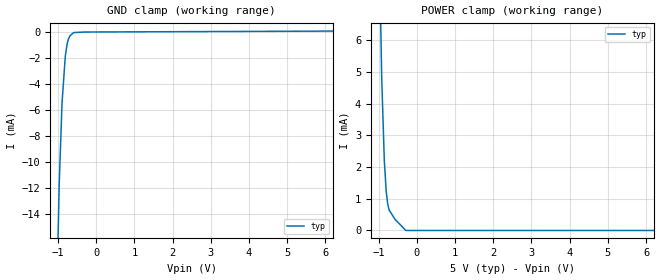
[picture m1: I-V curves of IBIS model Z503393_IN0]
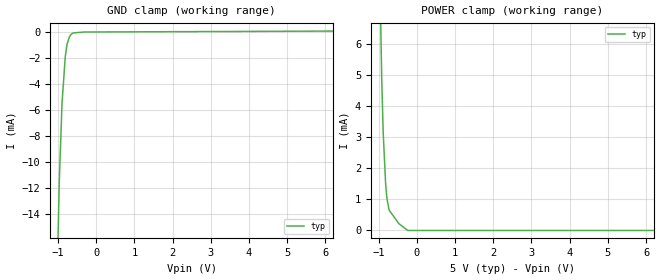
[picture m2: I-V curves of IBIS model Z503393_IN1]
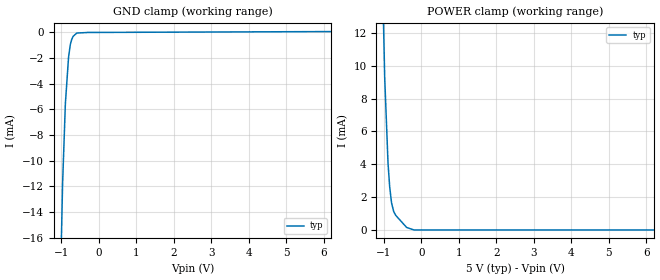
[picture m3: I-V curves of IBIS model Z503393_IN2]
| YOU ARE ONLY AUTHORIZED TO USE THIS SOFTWARE
| ACCORDING TO LICENSOR'S LICENSE RESTRICTIONS.
[IBIS Ver] 3.1
[File Name] mc100h641fn_50.ibs
[File Rev] 3.0
[Source] Measured and created by ICX Technology
[Date] 11/13/2003
[Copyright]
| (C) COPYRIGHT 1993-2000
| MENTOR GRAPHICS CORPORATION
| ICX STANDARD LIBRARY, ICX PROJECT MODELING,
| ICX CUSTOM MODELING, ICX VENDOR MODEL
| ALL RIGHTS RESERVED.
| THE FOLLOWING ARE TRADEMARKS OR SERVICE MARKS OF
| MENTOR GRAPHICS CORPORATION:ICX (R), ICX STANDARD
| LIBRARY(R), ICX PROJECT MODELING(R), ICX CUSTOM
| MODELING(R), qualityIBIS(TM), MODELVIEWER(TM),
| AND MODELEDITOR(TM)
| ALL COPIES OF SOFTWARE, INCLUDING BUT NOT LIMITED TO
| ANY MODIFICATIONS, ENHANCEMENTS OR DERIVATIVE WORKS,
| MUST CONTAIN ALL MENTOR GRAPHICS CORPORATION'S
| NOTICES AND LEGENDS, INCLUDING THOSE EMBEDDED IN
| SOFTWARE AND THOSE AFFIXED TO SOFTWARE MEDIUM
| AND CONTAINER, AS RECEIVED FROM MENTOR GRAPHICS
| CORPORATION.
|  ZAP Model Builder 2.7
[Component] MC100H641FN_50
[Manufacturer] OnSemiconductor
[Package]
| variable   typ   min   max
R_pkg  .083ohms NA NA
L_pkg  4.299nH NA NA
C_pkg  1.045pF NA NA
[Pin] signal_name  model_name  R_pin  L_pin C_pin
1 Q4 Z503393_OUT0 .08 3.94n .925p
2 VCC POWER .082 4.14n .995p
3 Q3 Z503393_OUT0 .084 4.354n 1.065p
4 GROUND GND .086 4.583n 1.135p
5 GROUND GND .086 4.583n 1.135p
6 Q2 Z503393_OUT0 .084 4.354n 1.065p
7 VCC POWER .082 4.14n .995p
8 Q1 Z503393_OUT0 .08 3.94n .925p
9 VCC POWER .082 4.14n .995p
10 Q0 Z503393_OUT0 .084 4.354n 1.065p
11 GROUND GND .086 4.583n 1.135p
12 _EN Z503393_IN0 .086 4.583n 1.135p
13 GROUND GND .084 4.354n 1.065p
14 LEN Z503393_IN1 .082 4.14n .995p
15 VCC POWER .08 3.94n .925p
16 D Z503393_IN2 .082 4.14n .995p
17 _D Z503393_IN2 .084 4.354n 1.065p
18 VBB POWER .086 4.583n 1.135p
19 GROUND GND .086 4.583n 1.135p
20 Q8 Z503393_OUT0 .084 4.354n 1.065p
21 VCC POWER .082 4.14n .995p
22 Q7 Z503393_OUT0 .08 3.94n .925p
23 VCC POWER .082 4.14n .995p
24 Q6 Z503393_OUT0 .084 4.354n 1.065p
25 GROUND GND .086 4.583n 1.135p
26 GROUND GND .086 4.583n 1.135p
27 Q5 Z503393_OUT0 .084 4.354n 1.065p
28 VCC POWER .082 4.14n .995p
| Models and submodels in the file (4): Z503393_IN0 (Input), Z503393_IN1 (Input), Z503393_IN2 (Input), Z503393_OUT0 (Output)
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| (C) COPYRIGHT 1993-2000
| MENTOR GRAPHICS CORPORATION
| ICX STANDARD LIBRARY, ICX PROJECT MODELING,
| ICX CUSTOM MODELING, ICX VENDOR MODEL
| ALL RIGHTS RESERVED.
| THE FOLLOWING ARE TRADEMARKS OR SERVICE MARKS OF
| MENTOR GRAPHICS CORPORATION:ICX (R), ICX STANDARD
| LIBRARY(R), ICX PROJECT MODELING(R), ICX CUSTOM
| MODELING(R), qualityIBIS(TM), MODELVIEWER(TM),
| AND MODELEDITOR(TM)
| ALL COPIES OF SOFTWARE, INCLUDING BUT NOT LIMITED TO
| ANY MODIFICATIONS, ENHANCEMENTS OR DERIVATIVE WORKS,
| MUST CONTAIN ALL MENTOR GRAPHICS CORPORATION'S
| NOTICES AND LEGENDS, INCLUDING THOSE EMBEDDED IN
| SOFTWARE AND THOSE AFFIXED TO SOFTWARE MEDIUM
| AND CONTAINER, AS RECEIVED FROM MENTOR GRAPHICS
| CORPORATION.
| Model Application Version 1.89 2/18/99.
[Model] Z503393_IN0
Model_type Input
Vinl = 3.525V
Vinh = 3.835V
C_comp 2.000pF NA NA
| variable typ   min   max
[Voltage Range] 5.000V NA NA
[GND Clamp Reference] 0.000V NA NA
[POWER Clamp Reference] 5.000V NA NA
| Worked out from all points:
|   GND clamp passes 1 mA (typ) near -0.76 V on its own axis
|   POWER clamp passes 1 mA (typ) near -0.78 V on its own axis
[GND Clamp]
-5V       -558.9mA   NA         NA
-966.7mV  -11.77mA   NA         NA
-892.8mV  -5.501mA   NA         NA
-808.1mV  -1.917mA   NA         NA
-760.2mV  -938.8uA   NA         NA
-722.7mV  -543.2uA   NA         NA
-683.4mV  -303.1uA   NA         NA
-586.6mV  -62.64uA   NA         NA
-293.3mV  -19.91uA   NA         NA
10V       94.47uA    NA         NA
[POWER Clamp]
-5V       420.4mA    NA         NA
-1.015V   11.33mA    NA         NA
-918mV    4.845mA    NA         NA
-849mV    2.199mA    NA         NA
-800mV    1.231mA    NA         NA
-761mV    840.4uA    NA         NA
-723mV    644.4uA    NA         NA
-571mV    354.7uA    NA         NA
-285.5mV  0A         NA         NA
10V       0A         NA         NA
| (C) COPYRIGHT 1993-2000
| MENTOR GRAPHICS CORPORATION
| ICX STANDARD LIBRARY, ICX PROJECT MODELING,
| ICX CUSTOM MODELING, ICX VENDOR MODEL
| ALL RIGHTS RESERVED.
| THE FOLLOWING ARE TRADEMARKS OR SERVICE MARKS OF
| MENTOR GRAPHICS CORPORATION:ICX (R), ICX STANDARD
| LIBRARY(R), ICX PROJECT MODELING(R), ICX CUSTOM
| MODELING(R), qualityIBIS(TM), MODELVIEWER(TM),
| AND MODELEDITOR(TM)
| ALL COPIES OF SOFTWARE, INCLUDING BUT NOT LIMITED TO
| ANY MODIFICATIONS, ENHANCEMENTS OR DERIVATIVE WORKS,
| MUST CONTAIN ALL MENTOR GRAPHICS CORPORATION'S
| NOTICES AND LEGENDS, INCLUDING THOSE EMBEDDED IN
| SOFTWARE AND THOSE AFFIXED TO SOFTWARE MEDIUM
| AND CONTAINER, AS RECEIVED FROM MENTOR GRAPHICS
| CORPORATION.
| Model Application Version 1.89 2/18/99.
[Model] Z503393_IN1
Model_type Input
Vinl = 3.525V
Vinh = 3.835V
C_comp 2.000pF NA NA
| variable typ   min   max
[Voltage Range] 5.000V NA NA
[GND Clamp Reference] 0.000V NA NA
[POWER Clamp Reference] 5.000V NA NA
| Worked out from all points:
|   GND clamp passes 1 mA (typ) near -0.76 V on its own axis
|   POWER clamp passes 1 mA (typ) near -0.78 V on its own axis
[GND Clamp]
-5V       -560.5mA   NA         NA
-966.8mV  -11.76mA   NA         NA
-892.8mV  -5.507mA   NA         NA
-807.8mV  -1.921mA   NA         NA
-760.2mV  -943.9uA   NA         NA
-700.5mV  -408.1uA   NA         NA
-663.9mV  -232.3uA   NA         NA
-606.1mV  -92.49uA   NA         NA
-303.1mV  -19.45uA   NA         NA
10V       94.37uA    NA         NA
[POWER Clamp]
-5V       457.7mA    NA         NA
-1.001V   10.72mA    NA         NA
-918mV    4.943mA    NA         NA
-879mV    3.164mA    NA         NA
-816mV    1.526mA    NA         NA
-781mV    1.028mA    NA         NA
-723mV    651.9uA    NA         NA
-469mV    219.6uA    NA         NA
-234.5mV  0A         NA         NA
10V       0A         NA         NA
| (C) COPYRIGHT 1993-2000
| MENTOR GRAPHICS CORPORATION
| ICX STANDARD LIBRARY, ICX PROJECT MODELING,
| ICX CUSTOM MODELING, ICX VENDOR MODEL
| ALL RIGHTS RESERVED.
| THE FOLLOWING ARE TRADEMARKS OR SERVICE MARKS OF
| MENTOR GRAPHICS CORPORATION:ICX (R), ICX STANDARD
| LIBRARY(R), ICX PROJECT MODELING(R), ICX CUSTOM
| MODELING(R), qualityIBIS(TM), MODELVIEWER(TM),
| AND MODELEDITOR(TM)
| ALL COPIES OF SOFTWARE, INCLUDING BUT NOT LIMITED TO
| ANY MODIFICATIONS, ENHANCEMENTS OR DERIVATIVE WORKS,
| MUST CONTAIN ALL MENTOR GRAPHICS CORPORATION'S
| NOTICES AND LEGENDS, INCLUDING THOSE EMBEDDED IN
| SOFTWARE AND THOSE AFFIXED TO SOFTWARE MEDIUM
| AND CONTAINER, AS RECEIVED FROM MENTOR GRAPHICS
| CORPORATION.
| Model Application Version 1.89 2/18/99.
[Model] Z503393_IN2
Model_type Input
Vinl = 3.525V
Vinh = 3.835V
C_comp 2.000pF NA NA
| variable typ   min   max
[Voltage Range] 5.000V NA NA
[GND Clamp Reference] 0.000V NA NA
[POWER Clamp Reference] 5.000V NA NA
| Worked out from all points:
|   GND clamp passes 1 mA (typ) near -0.76 V on its own axis
|   POWER clamp passes 1 mA (typ) near -0.71 V on its own axis
[GND Clamp]
-5V       -560.8mA   NA         NA
-966.6mV  -11.84mA   NA         NA
-892.1mV  -5.563mA   NA         NA
-807.2mV  -1.95mA    NA         NA
-760mV    -960.1uA   NA         NA
-722.8mV  -557.1uA   NA         NA
-683.4mV  -313.6uA   NA         NA
-586.6mV  -63.18uA   NA         NA
-293.3mV  -17.47uA   NA         NA
10V       93.16uA    NA         NA
[POWER Clamp]
-5V       426.2mA    NA         NA
-977mV    9.311mA    NA         NA
-888mV    4.068mA    NA         NA
-844mV    2.635mA    NA         NA
-795mV    1.661mA    NA         NA
-737mV    1.125mA    NA         NA
-682mV    887.9uA    NA         NA
-391mV    153.1uA    NA         NA
-195.5mV  0A         NA         NA
10V       0A         NA         NA
